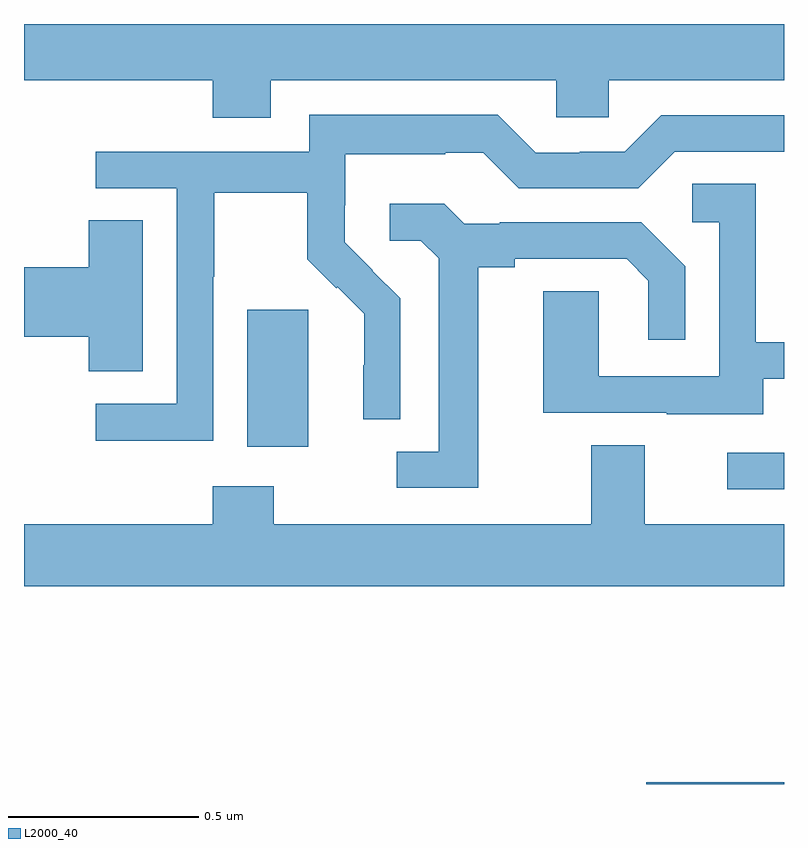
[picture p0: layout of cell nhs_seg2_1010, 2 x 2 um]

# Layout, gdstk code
import gdstk
lib = gdstk.Library(unit=1e-6, precision=1e-09)
def R(c, l, rs):  # rectangles x0, y0, x1, y1
    for r in rs: c.add(gdstk.rectangle(r[:2], r[2:], *l))
def P(c, l, *ps):  # polygons
    for p in ps: c.add(gdstk.Polygon(p, *l))
L2000_40 = (2000, 40)

nhs_seg2_1010 = lib.new_cell('nhs_seg2_1010')
R(nhs_seg2_1010, L2000_40, [(124.637,629.8,125,629.804), (124.851,630.576,125,630.672), (123.587,630.687,123.748,631.048)])
P(nhs_seg2_1010, L2000_40, [(123.649,631.652),(124.401,631.652),(124.401,631.554),(124.539,631.554),(124.539,631.652),(125,631.652),(125,631.8),(123,631.8),(123,631.652),(123.497,631.652),(123.497,631.553),(123.649,631.553)],
  [(123.498,631.135),(123.501,631.135),(123.501,631.356),(123.745,631.356),(123.745,631.181),(123.822,631.104),(123.825,631.107),(123.896,631.037),(123.896,630.902),(123.893,630.902),(123.893,630.76),(123.99,630.76),(123.99,631.078),(123.917,631.151),(123.918,631.152),(123.844,631.226),(123.844,631.323),(123.846,631.323),(123.846,631.457),(124.109,631.457),(124.109,631.461),(124.209,631.461),(124.302,631.368),(124.617,631.368),(124.713,631.464),(125,631.464),(125,631.56),(124.677,631.56),(124.581,631.464),(124.463,631.464),(124.463,631.461),(124.347,631.461),(124.247,631.561),(123.75,631.561),(123.75,631.464),(123.189,631.464),(123.189,631.368),(123.402,631.368),(123.402,630.801),(123.189,630.801),(123.189,630.703),(123.498,630.703)],
  [(124.945,630.867),(125,630.867),(125,630.963),(124.926,630.963),(124.926,631.379),(124.758,631.379),(124.758,631.278),(124.83,631.278),(124.83,630.873),(124.512,630.873),(124.512,631.097),(124.367,631.097),(124.367,630.777),(124.691,630.777),(124.691,630.773),(124.945,630.773)],
  [(124.195,631.16),(124.291,631.16),(124.291,631.182),(124.586,631.182),(124.643,631.125),(124.643,630.969),(124.74,630.969),(124.74,631.162),(124.624,631.278),(124.252,631.278),(124.252,631.275),(124.158,631.275),(124.106,631.327),(123.963,631.327),(123.963,631.23),(124.044,631.23),(124.091,631.183),(124.091,630.675),(123.981,630.675),(123.981,630.579),(124.195,630.579)],
  [(123.313,631.283),(123.17,631.283),(123.17,631.16),(123,631.16),(123,630.977),(123.17,630.977),(123.17,630.886),(123.313,630.886)],
  [(125,630.484),(124.633,630.484),(124.633,630.692),(124.493,630.692),(124.493,630.484),(123.657,630.484),(123.657,630.583),(123.497,630.583),(123.497,630.484),(123,630.484),(123,630.32),(125,630.32)])

lib.write_gds('nhs_seg2_1010.gds')
